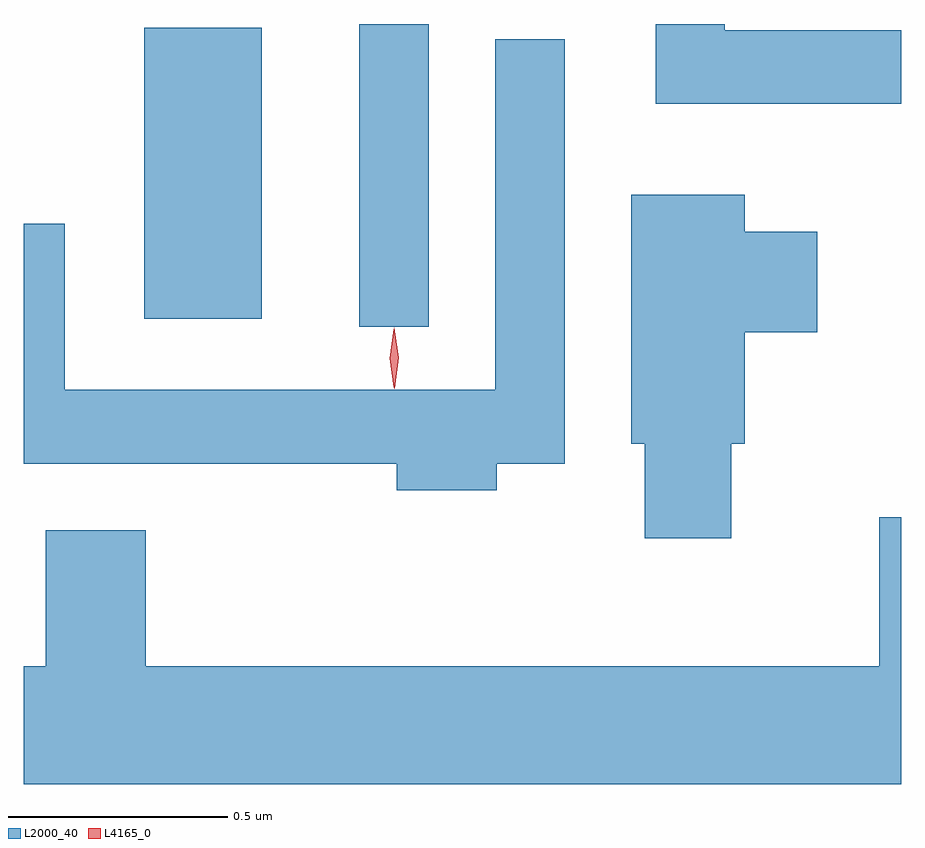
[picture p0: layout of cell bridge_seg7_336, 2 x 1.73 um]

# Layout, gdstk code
import gdstk
lib = gdstk.Library(unit=1e-6, precision=1e-09)
def R(c, l, rs):  # rectangles x0, y0, x1, y1
    for r in rs: c.add(gdstk.rectangle(r[:2], r[2:], *l))
def P(c, l, *ps):  # polygons
    for p in ps: c.add(gdstk.Polygon(p, *l))
L2000_40 = (2000, 40)
L4165_0 = (4165, 0)

bridge_seg7_336 = lib.new_cell('bridge_seg7_336')
R(bridge_seg7_336, L2000_40, [(1196.626,1761.978,1196.784,1762.668), (1196.136,1761.996,1196.404,1762.659)])
P(bridge_seg7_336, L2000_40, [(1197.861,1762.654),(1197.459,1762.654),(1197.459,1762.668),(1197.301,1762.668),(1197.301,1762.486),(1197.861,1762.486)],
  [(1196.939,1761.666),(1197.094,1761.666),(1197.094,1762.633),(1196.936,1762.633),(1196.936,1761.834),(1195.954,1761.834),(1195.954,1762.213),(1195.861,1762.213),(1195.861,1761.666),(1196.711,1761.666),(1196.711,1761.606),(1196.939,1761.606)],
  [(1197.474,1761.711),(1197.504,1761.711),(1197.504,1761.966),(1197.669,1761.966),(1197.669,1762.194),(1197.504,1762.194),(1197.504,1762.279),(1197.246,1762.279),(1197.246,1761.711),(1197.276,1761.711),(1197.276,1761.496),(1197.474,1761.496)],
  [(1197.861,1761.544),(1197.811,1761.544),(1197.811,1761.204),(1196.139,1761.204),(1196.139,1761.514),(1195.911,1761.514),(1195.911,1761.204),(1195.861,1761.204),(1195.861,1760.936),(1197.861,1760.936)])
P(bridge_seg7_336, L4165_0, [(1196.706,1761.837),(1196.706,1761.838),(1196.696,1761.907),(1196.705,1761.976),(1196.706,1761.976),(1196.706,1761.976),(1196.716,1761.907),(1196.707,1761.838)],
  [(1196.705,1761.839),(1196.704,1761.84),(1196.695,1761.906),(1196.704,1761.972),(1196.705,1761.973),(1196.705,1761.972),(1196.715,1761.906),(1196.705,1761.84)])

lib.write_gds('bridge_seg7_336.gds')
